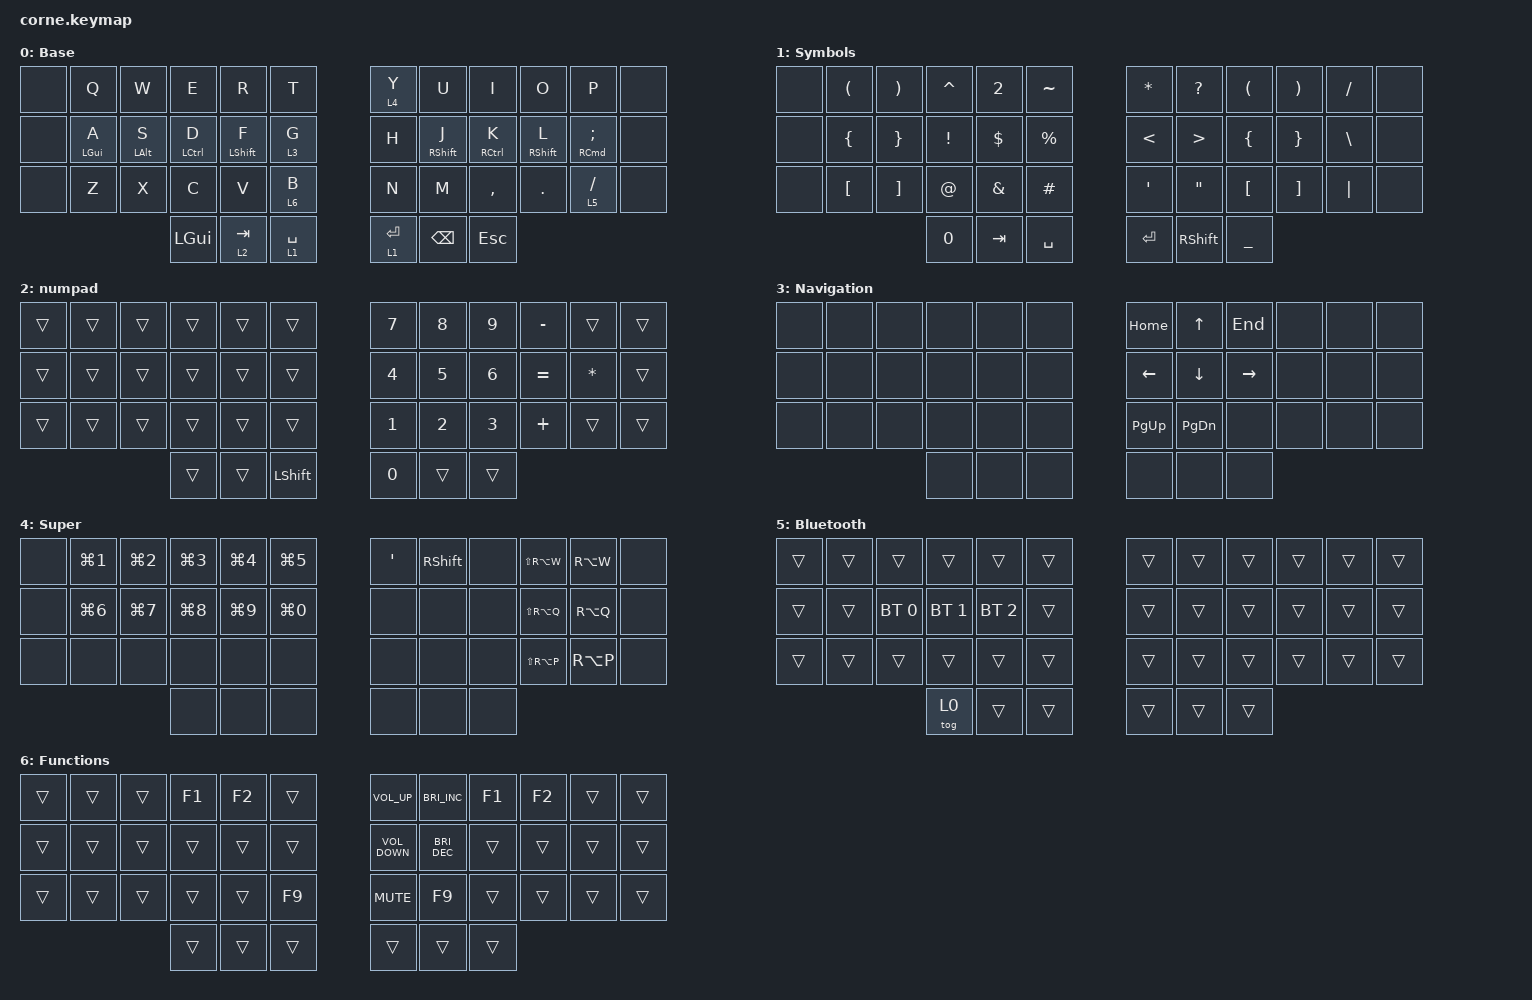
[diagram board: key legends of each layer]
#include <behaviors.dtsi>
#include <dt-bindings/zmk/bt.h>
#include <dt-bindings/zmk/keys.h>

&nice_view_spi { cs-gpios = <&pro_micro 9 GPIO_ACTIVE_HIGH>; };

/ {
    behaviors {
        hm: homerow_mods {
            compatible = "zmk,behavior-hold-tap";
            label = "HOMEROW_MODS";
            #binding-cells = <2>;
            tapping-term-ms = <150>;
            quick-tap-ms = <0>;
            flavor = "tap-preferred";
            bindings = <&kp>, <&kp>;
        };
    };

    macros {
        z4: superescape {
            compatible = "zmk,behavior-macro";
            #binding-cells = <0>;
            bindings = <&lt 5 Z &kp F20>;
            label = "SUPERESCAPE";
        };
    };

    keymap {
        compatible = "zmk,keymap";

        base {
            bindings = <
&none  &kp Q           &kp W           &kp E               &kp R        &kp T          &lt 4 Y      &kp U          &kp I        &kp O        &kp P               &none
&none  &hm LEFT_GUI A  &hm LEFT_ALT S  &hm LEFT_CONTROL D  &hm LSHFT F  &lt 3 G        &kp H        &hm RSHFT J    &hm RCTRL K  &hm RSHFT L  &hm RCMD SEMICOLON  &none
&none  &kp Z           &kp X           &kp C               &kp V        &lt 6 B        &kp N        &kp M          &kp COMMA    &kp PERIOD   &lt 5 SLASH         &none
                                       &kp LEFT_GUI        &lt 2 TAB    &lt 1 SPACE    &lt 1 ENTER  &kp BACKSPACE  &kp ESCAPE
            >;

            label = "Base";
        };

        symbols {
            bindings = <
&none  &kp LEFT_PARENTHESIS  &kp RIGHT_PARENTHESIS  &kp CARET        &kp NUMBER_2   &kp TILDE      &kp ASTERISK   &kp QUESTION       &kp LEFT_PARENTHESIS  &kp RIGHT_PARENTHESIS  &kp SLASH      &none
&none  &kp LEFT_BRACE        &kp RIGHT_BRACE        &kp EXCLAMATION  &kp DOLLAR     &kp PERCENT    &kp LESS_THAN  &kp GREATER_THAN   &kp LEFT_BRACE        &kp RIGHT_BRACE        &kp BACKSLASH  &none
&none  &kp LEFT_BRACKET      &kp RIGHT_BRACKET      &kp AT_SIGN      &kp AMPERSAND  &kp HASH       &kp SQT        &kp DOUBLE_QUOTES  &kp LEFT_BRACKET      &kp RIGHT_BRACKET      &kp PIPE       &none
                                                    &kp N0           &kp TAB        &kp SPACE      &kp ENTER      &kp RSHFT          &kp UNDERSCORE
            >;

            label = "Symbols";
        };

        numpad {
            bindings = <
&trans  &trans  &trans  &trans  &trans  &trans            &kp N7        &kp N8        &kp N9        &kp MINUS  &trans        &trans
&trans  &trans  &trans  &trans  &trans  &trans            &kp NUMBER_4  &kp N5        &kp NUMBER_6  &kp EQUAL  &kp ASTERISK  &trans
&trans  &trans  &trans  &trans  &trans  &trans            &kp NUMBER_1  &kp NUMBER_2  &kp NUMBER_3  &kp PLUS   &trans        &trans
                        &trans  &trans  &kp LEFT_SHIFT    &kp NUMBER_0  &trans        &trans
            >;
        };

        navigation {
            bindings = <
&none  &none  &none  &none  &none  &none    &kp HOME        &kp UP_ARROW    &kp END    &none  &none  &none
&none  &none  &none  &none  &none  &none    &kp LEFT_ARROW  &kp DOWN_ARROW  &kp RIGHT  &none  &none  &none
&none  &none  &none  &none  &none  &none    &kp PAGE_UP     &kp PAGE_DOWN   &none      &none  &none  &none
                     &none  &none  &none    &none           &none           &none
            >;

            label = "Navigation";
        };

        super {
            bindings = <
&none  &kp LG(NUMBER_1)  &kp LG(NUMBER_2)  &kp LG(NUMBER_3)  &kp LG(NUMBER_4)  &kp LG(N5)    &kp SQT  &kp RSHFT  &none  &kp LS(RA(W))  &kp RA(W)  &none
&none  &kp LG(NUMBER_6)  &kp LG(N7)        &kp LG(N8)        &kp LG(N9)        &kp LG(N0)    &none    &none      &none  &kp LS(RA(Q))  &kp RA(Q)  &none
&none  &none             &none             &none             &none             &none         &none    &none      &none  &kp LS(RA(P))  &kp RA(P)  &none
                                           &none             &none             &none         &none    &none      &none
            >;

            label = "Super";
        };

        bluetooth {
            bindings = <
&trans  &trans  &trans        &trans        &trans        &trans    &trans  &trans  &trans  &trans  &trans  &trans
&trans  &trans  &bt BT_SEL 0  &bt BT_SEL 1  &bt BT_SEL 2  &trans    &trans  &trans  &trans  &trans  &trans  &trans
&trans  &trans  &trans        &trans        &trans        &trans    &trans  &trans  &trans  &trans  &trans  &trans
                              &tog 0        &trans        &trans    &trans  &trans  &trans
            >;

            label = "Bluetooth";
        };

        func {
            bindings = <
&trans  &trans  &trans  &kp F1  &kp F2  &trans    &kp C_VOLUME_UP    &kp C_BRI_INC  &kp F1  &kp F2  &trans  &trans
&trans  &trans  &trans  &trans  &trans  &trans    &kp C_VOLUME_DOWN  &kp C_BRI_DEC  &trans  &trans  &trans  &trans
&trans  &trans  &trans  &trans  &trans  &kp F9    &kp K_MUTE         &kp F9         &trans  &trans  &trans  &trans
                        &trans  &trans  &trans    &trans             &trans         &trans
            >;

            label = "Functions";
        };
    };
};
